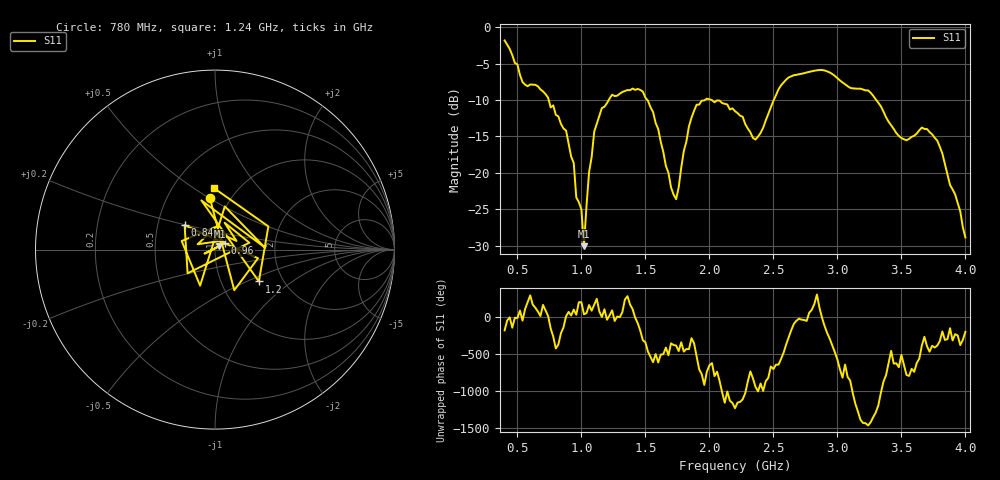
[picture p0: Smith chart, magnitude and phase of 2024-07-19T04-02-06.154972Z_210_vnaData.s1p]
!Created with skrf (http://scikit-rf.org).
# Hz S RI R 50.0
!freq ReS11 ImS11
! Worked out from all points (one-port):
!   181 points, 400 MHz to 4 GHz, reference 50 ohm
!   lowest |S11| = -30.1 dB at 1.02 GHz (marker M1), VSWR 1.06, Z = 52.5 + j2.02 ohm
!   |S11| at or under -10 dB: 744.9 MHz to 1.213 GHz (468.2 MHz wide, 47.8 % of centre); 2.019 GHz to 2.502 GHz (483.2 MHz wide, 21.4 % of centre); 3.304 GHz to end of sweep (the widest 3 of 4)
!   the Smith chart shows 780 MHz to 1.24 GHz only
!   S11 on the Smith chart (normalised r, x): 780 MHz: 0.80, +0.51; 840 MHz: 0.69, +0.20; 960 MHz: 1.12, +0.08; 1.2 GHz: 1.51, -0.59; 1.24 GHz: 0.78, +0.61
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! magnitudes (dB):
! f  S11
! 400 MHz  -1.8
! 540 MHz  -7.5
! 780 MHz  -10.7
! 840 MHz  -13.3
! 860 MHz  -13.9
! 940 MHz  -18.6
! 960 MHz  -23.4
! 1 GHz  -25.0
! 1.02 GHz  -30.1
! 1.06 GHz  -19.9
! 1.1 GHz  -14.3
! 1.2 GHz  -10.4
! 1.24 GHz  -9.3
! 1.3 GHz  -9.1
! 1.48 GHz  -8.8
! 1.6 GHz  -14.0
! 1.72 GHz  -23.0
! 1.76 GHz  -22.0
! 1.84 GHz  -13.6
! 1.9 GHz  -10.6
! 2.2 GHz  -11.5
! 2.36 GHz  -15.4
! 2.66 GHz  -6.6
! 3.1 GHz  -8.3
! 3.24 GHz  -8.7
! 3.56 GHz  -15.3
! 3.78 GHz  -15.6
! 4 GHz  -28.9
